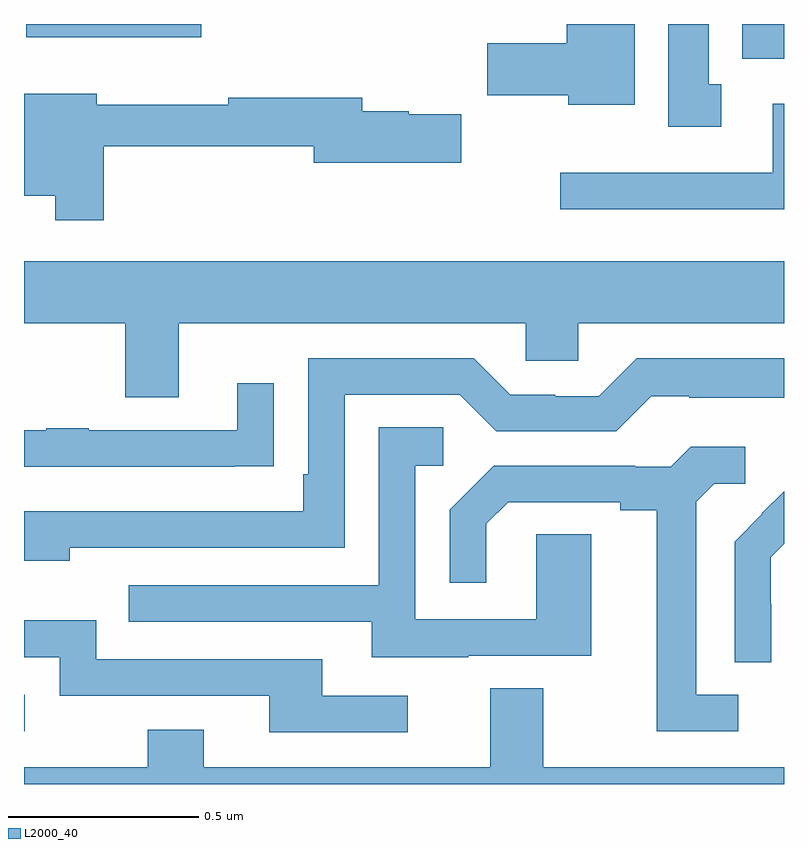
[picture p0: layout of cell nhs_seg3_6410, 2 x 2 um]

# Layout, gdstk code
import gdstk
lib = gdstk.Library(unit=1e-6, precision=1e-09)
def R(c, l, rs):  # rectangles x0, y0, x1, y1
    for r in rs: c.add(gdstk.rectangle(r[:2], r[2:], *l))
def P(c, l, *ps):  # polygons
    for p in ps: c.add(gdstk.Polygon(p, *l))
L2000_40 = (2000, 40)

nhs_seg3_6410 = lib.new_cell('nhs_seg3_6410')
R(nhs_seg3_6410, L2000_40, [(191,670.539,191.002,670.635), (192.89,672.308,193,672.4), (191.006,672.365,191.467,672.4)])
P(nhs_seg3_6410, L2000_40, [(192.607,672.4),(192.428,672.4),(192.428,672.35),(192.219,672.35),(192.219,672.213),(192.432,672.213),(192.432,672.188),(192.607,672.188)],
  [(192.835,672.242),(192.802,672.242),(192.802,672.4),(192.695,672.4),(192.695,672.129),(192.835,672.129)],
  [(191.21,672.078),(191.762,672.078),(191.762,672.035),(192.151,672.035),(192.151,672.162),(192.012,672.162),(192.012,672.17),(191.89,672.17),(191.89,672.206),(191.537,672.206),(191.537,672.187),(191.191,672.187),(191.191,672.217),(191,672.217),(191,671.948),(191.082,671.948),(191.082,671.883),(191.21,671.883)],
  [(193,672.19),(192.971,672.19),(192.971,672.009),(192.411,672.009),(192.411,671.912),(193,671.912)],
  [(191.407,671.612),(192.321,671.612),(192.321,671.514),(192.459,671.514),(192.459,671.612),(193,671.612),(193,671.776),(191,671.776),(191,671.612),(191.267,671.612),(191.267,671.418),(191.407,671.418)],
  [(191.12,671.022),(191.844,671.022),(191.844,671.424),(192.147,671.424),(192.243,671.328),(192.558,671.328),(192.651,671.421),(192.751,671.421),(192.751,671.417),(193,671.417),(193,671.521),(192.613,671.521),(192.513,671.421),(192.398,671.421),(192.398,671.424),(192.279,671.424),(192.183,671.52),(191.748,671.52),(191.748,671.215),(191.735,671.215),(191.735,671.118),(191,671.118),(191,670.988),(191.12,670.988)],
  [(191.555,671.236),(191.657,671.236),(191.657,671.455),(191.561,671.455),(191.561,671.331),(191.171,671.331),(191.171,671.336),(191.059,671.336),(191.059,671.331),(191,671.331),(191,671.235),(191.555,671.235)],
  [(192.169,670.737),(192.493,670.737),(192.493,671.057),(192.348,671.057),(192.348,670.833),(192.03,670.833),(192.03,671.238),(192.103,671.238),(192.103,671.339),(191.934,671.339),(191.934,670.923),(191.275,670.923),(191.275,670.827),(191.915,670.827),(191.915,670.733),(192.169,670.733)],
  [(192.88,670.635),(192.769,670.635),(192.769,671.143),(192.816,671.19),(192.898,671.19),(192.898,671.287),(192.754,671.287),(192.702,671.235),(192.608,671.235),(192.608,671.238),(192.236,671.238),(192.12,671.122),(192.12,670.929),(192.217,670.929),(192.217,671.085),(192.274,671.142),(192.569,671.142),(192.569,671.12),(192.665,671.12),(192.665,670.539),(192.88,670.539)],
  [(192.966,670.874),(192.965,670.874),(192.965,670.997),(193,671.032),(193,671.17),(192.942,671.112),(192.943,671.111),(192.87,671.038),(192.87,670.72),(192.966,670.72)],
  [(192.01,670.632),(191.785,670.632),(191.785,670.728),(191.19,670.728),(191.19,670.831),(191,670.831),(191,670.734),(191.094,670.734),(191.094,670.632),(191.645,670.632),(191.645,670.536),(192.01,670.536)],
  [(193,670.444),(192.367,670.444),(192.367,670.652),(192.227,670.652),(192.227,670.444),(191.473,670.444),(191.473,670.543),(191.326,670.543),(191.326,670.444),(191,670.444),(191,670.4),(193,670.4)])

lib.write_gds('nhs_seg3_6410.gds')
